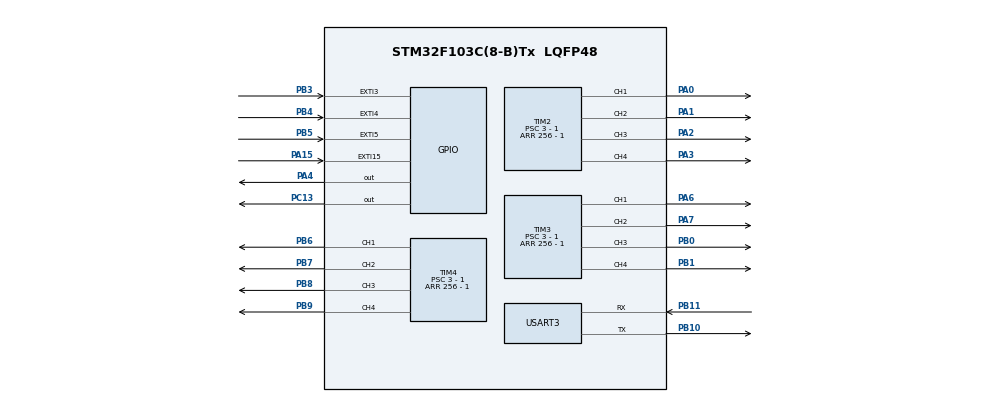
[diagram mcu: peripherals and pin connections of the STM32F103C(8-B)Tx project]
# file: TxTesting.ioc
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Mcu.Family=STM32F1
Mcu.Name=STM32F103C(8-B)Tx
Mcu.Package=LQFP48
NVIC.EXTI15_10_IRQn=true\:0\:0\:false\:false\:true\:true\:true\:true
NVIC.EXTI3_IRQn=true\:0\:0\:false\:false\:true\:true\:true\:true
NVIC.EXTI4_IRQn=true\:0\:0\:false\:false\:true\:true\:true\:true
NVIC.EXTI9_5_IRQn=true\:0\:0\:false\:false\:true\:true\:true\:true
NVIC.PriorityGroup=NVIC_PRIORITYGROUP_4
NVIC.USART3_IRQn=true\:0\:0\:false\:false\:true\:true\:true\:true
PA0-WKUP.Signal=S_TIM2_CH1_ETR
PA1.Signal=S_TIM2_CH2
PA15.GPIO_ModeDefaultEXTI=GPIO_MODE_IT_RISING
PA15.Signal=GPXTI15
PA2.Signal=S_TIM2_CH3
PA3.Signal=S_TIM2_CH4
PA4.Signal=GPIO_Output
PA6.Signal=S_TIM3_CH1
PA7.Signal=S_TIM3_CH2
PB0.Signal=S_TIM3_CH3
PB1.Signal=S_TIM3_CH4
PB10.Mode=Asynchronous
PB10.Signal=USART3_TX
PB11.Mode=Asynchronous
PB11.Signal=USART3_RX
PB3.Signal=GPXTI3
PB4.Signal=GPXTI4
PB5.Signal=GPXTI5
PB6.Signal=S_TIM4_CH1
PB7.Signal=S_TIM4_CH2
PB8.Signal=S_TIM4_CH3
PB9.Signal=S_TIM4_CH4
PC13-TAMPER-RTC.Signal=GPIO_Output
ProjectManager.HeapSize=0x200
ProjectManager.StackSize=0x400
ProjectManager.TargetToolchain=STM32CubeIDE
RCC.APB1Freq_Value=8000000
RCC.APB2Freq_Value=8000000
SH.S_TIM2_CH1_ETR.0=TIM2_CH1,PWM Generation1 CH1
SH.S_TIM2_CH2.0=TIM2_CH2,PWM Generation2 CH2
SH.S_TIM2_CH3.0=TIM2_CH3,PWM Generation3 CH3
SH.S_TIM2_CH4.0=TIM2_CH4,PWM Generation4 CH4
SH.S_TIM3_CH1.0=TIM3_CH1,PWM Generation1 CH1
SH.S_TIM3_CH2.0=TIM3_CH2,PWM Generation2 CH2
SH.S_TIM3_CH3.0=TIM3_CH3,PWM Generation3 CH3
SH.S_TIM3_CH4.0=TIM3_CH4,PWM Generation4 CH4
SH.S_TIM4_CH1.0=TIM4_CH1,PWM Generation1 CH1
SH.S_TIM4_CH2.0=TIM4_CH2,PWM Generation2 CH2
SH.S_TIM4_CH3.0=TIM4_CH3,PWM Generation3 CH3
SH.S_TIM4_CH4.0=TIM4_CH4,PWM Generation4 CH4
TIM2.Channel-PWM\ Generation1\ CH1=TIM_CHANNEL_1
TIM2.Channel-PWM\ Generation2\ CH2=TIM_CHANNEL_2
TIM2.Channel-PWM\ Generation3\ CH3=TIM_CHANNEL_3
TIM2.Channel-PWM\ Generation4\ CH4=TIM_CHANNEL_4
TIM2.Period=256 - 1
TIM2.Prescaler=3 - 1
TIM3.Channel-PWM\ Generation1\ CH1=TIM_CHANNEL_1
TIM3.Channel-PWM\ Generation2\ CH2=TIM_CHANNEL_2
TIM3.Channel-PWM\ Generation3\ CH3=TIM_CHANNEL_3
TIM3.Channel-PWM\ Generation4\ CH4=TIM_CHANNEL_4
TIM3.Period=256 - 1
TIM3.Prescaler=3 - 1
TIM4.Channel-PWM\ Generation1\ CH1=TIM_CHANNEL_1
TIM4.Channel-PWM\ Generation2\ CH2=TIM_CHANNEL_2
TIM4.Channel-PWM\ Generation3\ CH3=TIM_CHANNEL_3
TIM4.Channel-PWM\ Generation4\ CH4=TIM_CHANNEL_4
TIM4.Period=256 - 1
TIM4.Prescaler=3 - 1
USART3.VirtualMode=VM_ASYNC
VP_SYS_VS_ND.Mode=No_Debug
board=custom

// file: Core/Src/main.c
/* USER CODE BEGIN Header */
/**
  ******************************************************************************
  * @file           : main.c
  * @brief          : Main program body
  ******************************************************************************
  * @attention
  *
  * Copyright (c) 2026 STMicroelectronics.
  * All rights reserved.
  *
  * This software is licensed under terms that can be found in the LICENSE file
  * in the root directory of this software component.
  * If no LICENSE file comes with this software, it is provided AS-IS.
  *
  ******************************************************************************
  */

/*
== LED TIMER CHANNEL REFERENCE ==
PB1 -> TIM3_CH4 (R1)
PB0 -> TIM3_CH3 (G1)
PA7 -> TIM3_CH2 (B1)

PA6 -> TIM3_CH1 (R2)
PB6 -> TIM4_CH1 (G2)
PB7 -> TIM4_CH2 (B2)

PA2 -> TIM2_CH3 (R3)
PA1 -> TIM2_CH2 (G3)
PA0 -> TIM2_CH1 (B3)

PB8 -> TIM4_CH3 (R4)
PB9 -> TIM4_CH4 (G4)
PA3 -> TIM2_CH4 (B4)
*/

/* USER CODE END Header */
#include "main.h"

/* USER CODE BEGIN Includes */
#include <string.h>

/* USER CODE END Includes */

TIM_HandleTypeDef htim2;
TIM_HandleTypeDef htim3;
TIM_HandleTypeDef htim4;

UART_HandleTypeDef huart3;

/* USER CODE BEGIN PV */

uint8_t uart_tx_buffer[5] = {1, 0, 1, 0, 1};

/* USER CODE END PV */

void SystemClock_Config(void);
static void MX_GPIO_Init(void);
static void MX_TIM2_Init(void);
static void MX_TIM3_Init(void);
static void MX_TIM4_Init(void);
static void MX_USART3_UART_Init(void);

/* USER CODE BEGIN 0 */

void set_rgb(uint8_t r, uint8_t g, uint8_t b)
{
    __HAL_TIM_SET_COMPARE(&htim3, TIM_CHANNEL_4, r);
    __HAL_TIM_SET_COMPARE(&htim3, TIM_CHANNEL_3, g);
    __HAL_TIM_SET_COMPARE(&htim3, TIM_CHANNEL_2, b);
}

// Transmitter
void rs485_send(uint8_t *buf, uint16_t len) {
    HAL_GPIO_WritePin(GPIOA, GPIO_PIN_4, GPIO_PIN_SET);
    HAL_UART_Transmit_IT(&huart3, buf, len);
}
/* USER CODE END 0 */

int main(void)
{

  /* MCU Configuration--------------------------------------------------------*/

  /* Reset of all peripherals, Initializes the Flash interface and the Systick. */
  HAL_Init();

  /* Configure the system clock */
  SystemClock_Config();

  /* Initialize all configured peripherals */
  MX_GPIO_Init();
  MX_TIM2_Init();
  MX_TIM3_Init();
  MX_TIM4_Init();
  MX_USART3_UART_Init();
  /* USER CODE BEGIN 2 */

  /* Enable PWM Timers */
  HAL_TIM_PWM_Start(&htim2, TIM_CHANNEL_1);
  HAL_TIM_PWM_Start(&htim2, TIM_CHANNEL_2);
  HAL_TIM_PWM_Start(&htim2, TIM_CHANNEL_3);
  HAL_TIM_PWM_Start(&htim2, TIM_CHANNEL_4);

  HAL_TIM_PWM_Start(&htim3, TIM_CHANNEL_1);
  HAL_TIM_PWM_Start(&htim3, TIM_CHANNEL_2);
  HAL_TIM_PWM_Start(&htim3, TIM_CHANNEL_3);
  HAL_TIM_PWM_Start(&htim3, TIM_CHANNEL_4);

  HAL_TIM_PWM_Start(&htim4, TIM_CHANNEL_1);
  HAL_TIM_PWM_Start(&htim4, TIM_CHANNEL_2);
  HAL_TIM_PWM_Start(&htim4, TIM_CHANNEL_3);
  HAL_TIM_PWM_Start(&htim4, TIM_CHANNEL_4);

  /* USER CODE END 2 */

  /* Infinite loop */
  while (1)
  {
  }
}

void SystemClock_Config(void)
{
  RCC_OscInitTypeDef RCC_OscInitStruct = {0};
  RCC_ClkInitTypeDef RCC_ClkInitStruct = {0};

  /** Initializes the RCC Oscillators according to the specified parameters
  * in the RCC_OscInitTypeDef structure.
  */
  RCC_OscInitStruct.OscillatorType = RCC_OSCILLATORTYPE_HSI;
  RCC_OscInitStruct.HSIState = RCC_HSI_ON;
  RCC_OscInitStruct.HSICalibrationValue = RCC_HSICALIBRATION_DEFAULT;
  RCC_OscInitStruct.PLL.PLLState = RCC_PLL_NONE;
  if (HAL_RCC_OscConfig(&RCC_OscInitStruct) != HAL_OK)
  {
    Error_Handler();
  }

  /** Initializes the CPU, AHB and APB buses clocks
  */
  RCC_ClkInitStruct.ClockType = RCC_CLOCKTYPE_HCLK|RCC_CLOCKTYPE_SYSCLK
                              |RCC_CLOCKTYPE_PCLK1|RCC_CLOCKTYPE_PCLK2;
  RCC_ClkInitStruct.SYSCLKSource = RCC_SYSCLKSOURCE_HSI;
  RCC_ClkInitStruct.AHBCLKDivider = RCC_SYSCLK_DIV1;
  RCC_ClkInitStruct.APB1CLKDivider = RCC_HCLK_DIV1;
  RCC_ClkInitStruct.APB2CLKDivider = RCC_HCLK_DIV1;

  if (HAL_RCC_ClockConfig(&RCC_ClkInitStruct, FLASH_LATENCY_0) != HAL_OK)
  {
    Error_Handler();
  }
}

static void MX_TIM2_Init(void)
{

  TIM_MasterConfigTypeDef sMasterConfig = {0};
  TIM_OC_InitTypeDef sConfigOC = {0};

  htim2.Instance = TIM2;
  htim2.Init.Prescaler = 3 - 1;
  htim2.Init.CounterMode = TIM_COUNTERMODE_UP;
  htim2.Init.Period = 256 - 1;
  htim2.Init.ClockDivision = TIM_CLOCKDIVISION_DIV1;
  htim2.Init.AutoReloadPreload = TIM_AUTORELOAD_PRELOAD_DISABLE;
  if (HAL_TIM_PWM_Init(&htim2) != HAL_OK)
  {
    Error_Handler();
  }
  sMasterConfig.MasterOutputTrigger = TIM_TRGO_RESET;
  sMasterConfig.MasterSlaveMode = TIM_MASTERSLAVEMODE_DISABLE;
  if (HAL_TIMEx_MasterConfigSynchronization(&htim2, &sMasterConfig) != HAL_OK)
  {
    Error_Handler();
  }
  sConfigOC.OCMode = TIM_OCMODE_PWM1;
  sConfigOC.Pulse = 0;
  sConfigOC.OCPolarity = TIM_OCPOLARITY_HIGH;
  sConfigOC.OCFastMode = TIM_OCFAST_DISABLE;
  if (HAL_TIM_PWM_ConfigChannel(&htim2, &sConfigOC, TIM_CHANNEL_1) != HAL_OK)
  {
    Error_Handler();
  }
  if (HAL_TIM_PWM_ConfigChannel(&htim2, &sConfigOC, TIM_CHANNEL_2) != HAL_OK)
  {
    Error_Handler();
  }
  if (HAL_TIM_PWM_ConfigChannel(&htim2, &sConfigOC, TIM_CHANNEL_3) != HAL_OK)
  {
    Error_Handler();
  }
  if (HAL_TIM_PWM_ConfigChannel(&htim2, &sConfigOC, TIM_CHANNEL_4) != HAL_OK)
  {
    Error_Handler();
  }
  HAL_TIM_MspPostInit(&htim2);

}

static void MX_TIM3_Init(void)
{

  TIM_MasterConfigTypeDef sMasterConfig = {0};
  TIM_OC_InitTypeDef sConfigOC = {0};

  htim3.Instance = TIM3;
  htim3.Init.Prescaler = 3 - 1;
  htim3.Init.CounterMode = TIM_COUNTERMODE_UP;
  htim3.Init.Period = 256 - 1;
  htim3.Init.ClockDivision = TIM_CLOCKDIVISION_DIV1;
  htim3.Init.AutoReloadPreload = TIM_AUTORELOAD_PRELOAD_DISABLE;
  if (HAL_TIM_PWM_Init(&htim3) != HAL_OK)
  {
    Error_Handler();
  }
  sMasterConfig.MasterOutputTrigger = TIM_TRGO_RESET;
  sMasterConfig.MasterSlaveMode = TIM_MASTERSLAVEMODE_DISABLE;
  if (HAL_TIMEx_MasterConfigSynchronization(&htim3, &sMasterConfig) != HAL_OK)
  {
    Error_Handler();
  }
  sConfigOC.OCMode = TIM_OCMODE_PWM1;
  sConfigOC.Pulse = 0;
  sConfigOC.OCPolarity = TIM_OCPOLARITY_HIGH;
  sConfigOC.OCFastMode = TIM_OCFAST_DISABLE;
  if (HAL_TIM_PWM_ConfigChannel(&htim3, &sConfigOC, TIM_CHANNEL_1) != HAL_OK)
  {
    Error_Handler();
  }
  if (HAL_TIM_PWM_ConfigChannel(&htim3, &sConfigOC, TIM_CHANNEL_2) != HAL_OK)
  {
    Error_Handler();
  }
  if (HAL_TIM_PWM_ConfigChannel(&htim3, &sConfigOC, TIM_CHANNEL_3) != HAL_OK)
  {
    Error_Handler();
  }
  if (HAL_TIM_PWM_ConfigChannel(&htim3, &sConfigOC, TIM_CHANNEL_4) != HAL_OK)
  {
    Error_Handler();
  }
  HAL_TIM_MspPostInit(&htim3);

}

static void MX_TIM4_Init(void)
{

  TIM_MasterConfigTypeDef sMasterConfig = {0};
  TIM_OC_InitTypeDef sConfigOC = {0};

  htim4.Instance = TIM4;
  htim4.Init.Prescaler = 3 - 1;
  htim4.Init.CounterMode = TIM_COUNTERMODE_UP;
  htim4.Init.Period = 256 - 1;
  htim4.Init.ClockDivision = TIM_CLOCKDIVISION_DIV1;
  htim4.Init.AutoReloadPreload = TIM_AUTORELOAD_PRELOAD_DISABLE;
  if (HAL_TIM_PWM_Init(&htim4) != HAL_OK)
  {
    Error_Handler();
  }
  sMasterConfig.MasterOutputTrigger = TIM_TRGO_RESET;
  sMasterConfig.MasterSlaveMode = TIM_MASTERSLAVEMODE_DISABLE;
  if (HAL_TIMEx_MasterConfigSynchronization(&htim4, &sMasterConfig) != HAL_OK)
  {
    Error_Handler();
  }
  sConfigOC.OCMode = TIM_OCMODE_PWM1;
  sConfigOC.Pulse = 0;
  sConfigOC.OCPolarity = TIM_OCPOLARITY_HIGH;
  sConfigOC.OCFastMode = TIM_OCFAST_DISABLE;
  if (HAL_TIM_PWM_ConfigChannel(&htim4, &sConfigOC, TIM_CHANNEL_1) != HAL_OK)
  {
    Error_Handler();
  }
  if (HAL_TIM_PWM_ConfigChannel(&htim4, &sConfigOC, TIM_CHANNEL_2) != HAL_OK)
  {
    Error_Handler();
  }
  if (HAL_TIM_PWM_ConfigChannel(&htim4, &sConfigOC, TIM_CHANNEL_3) != HAL_OK)
  {
    Error_Handler();
  }
  if (HAL_TIM_PWM_ConfigChannel(&htim4, &sConfigOC, TIM_CHANNEL_4) != HAL_OK)
  {
    Error_Handler();
  }
  HAL_TIM_MspPostInit(&htim4);

}

static void MX_USART3_UART_Init(void)
{

  huart3.Instance = USART3;
  huart3.Init.BaudRate = 115200;
  huart3.Init.WordLength = UART_WORDLENGTH_8B;
  huart3.Init.StopBits = UART_STOPBITS_1;
  huart3.Init.Parity = UART_PARITY_NONE;
  huart3.Init.Mode = UART_MODE_TX_RX;
  huart3.Init.HwFlowCtl = UART_HWCONTROL_NONE;
  huart3.Init.OverSampling = UART_OVERSAMPLING_16;
  if (HAL_UART_Init(&huart3) != HAL_OK)
  {
    Error_Handler();
  }

}

static void MX_GPIO_Init(void)
{
  GPIO_InitTypeDef GPIO_InitStruct = {0};

  /* GPIO Ports Clock Enable */
  __HAL_RCC_GPIOC_CLK_ENABLE();
  __HAL_RCC_GPIOA_CLK_ENABLE();
  __HAL_RCC_GPIOB_CLK_ENABLE();

  /*Configure GPIO pin Output Level */
  HAL_GPIO_WritePin(GPIOC, GPIO_PIN_13, GPIO_PIN_RESET);

  /*Configure GPIO pin Output Level */
  HAL_GPIO_WritePin(GPIOA, GPIO_PIN_4, GPIO_PIN_RESET);

  /*Configure GPIO pin : PC13 */
  GPIO_InitStruct.Pin = GPIO_PIN_13;
  GPIO_InitStruct.Mode = GPIO_MODE_OUTPUT_PP;
  GPIO_InitStruct.Pull = GPIO_NOPULL;
  GPIO_InitStruct.Speed = GPIO_SPEED_FREQ_LOW;
  HAL_GPIO_Init(GPIOC, &GPIO_InitStruct);

  /*Configure GPIO pin : PA4 */
  GPIO_InitStruct.Pin = GPIO_PIN_4;
  GPIO_InitStruct.Mode = GPIO_MODE_OUTPUT_PP;
  GPIO_InitStruct.Pull = GPIO_NOPULL;
  GPIO_InitStruct.Speed = GPIO_SPEED_FREQ_LOW;
  HAL_GPIO_Init(GPIOA, &GPIO_InitStruct);

  /*Configure GPIO pin : PA15 */
  GPIO_InitStruct.Pin = GPIO_PIN_15;
  GPIO_InitStruct.Mode = GPIO_MODE_IT_RISING;
  GPIO_InitStruct.Pull = GPIO_NOPULL;
  HAL_GPIO_Init(GPIOA, &GPIO_InitStruct);

  /*Configure GPIO pins : PB3 PB4 PB5 */
  GPIO_InitStruct.Pin = GPIO_PIN_3|GPIO_PIN_4|GPIO_PIN_5;
  GPIO_InitStruct.Mode = GPIO_MODE_IT_RISING;
  GPIO_InitStruct.Pull = GPIO_NOPULL;
  HAL_GPIO_Init(GPIOB, &GPIO_InitStruct);

  /* EXTI interrupt init*/
  HAL_NVIC_SetPriority(EXTI3_IRQn, 0, 0);
  HAL_NVIC_EnableIRQ(EXTI3_IRQn);

  HAL_NVIC_SetPriority(EXTI4_IRQn, 0, 0);
  HAL_NVIC_EnableIRQ(EXTI4_IRQn);

  HAL_NVIC_SetPriority(EXTI9_5_IRQn, 0, 0);
  HAL_NVIC_EnableIRQ(EXTI9_5_IRQn);

  HAL_NVIC_SetPriority(EXTI15_10_IRQn, 0, 0);
  HAL_NVIC_EnableIRQ(EXTI15_10_IRQn);

}

/* USER CODE BEGIN 4 */

void HAL_GPIO_EXTI_Callback(uint16_t GPIO_Pin)
{
    if (GPIO_Pin == GPIO_PIN_15)
    {
        static uint32_t last_tick = 0;
        if (HAL_GetTick() - last_tick > 100)
        {
            rs485_send(uart_tx_buffer, 5);
            last_tick = HAL_GetTick();
        }
    }
}

/* Transmit End */
void HAL_UART_TxCpltCallback(UART_HandleTypeDef *huart) {
    HAL_GPIO_WritePin(GPIOA, GPIO_PIN_4, GPIO_PIN_RESET);
}

/* USER CODE END 4 */

void Error_Handler(void)
{
  __disable_irq();
  while (1)
  {
  }
}
